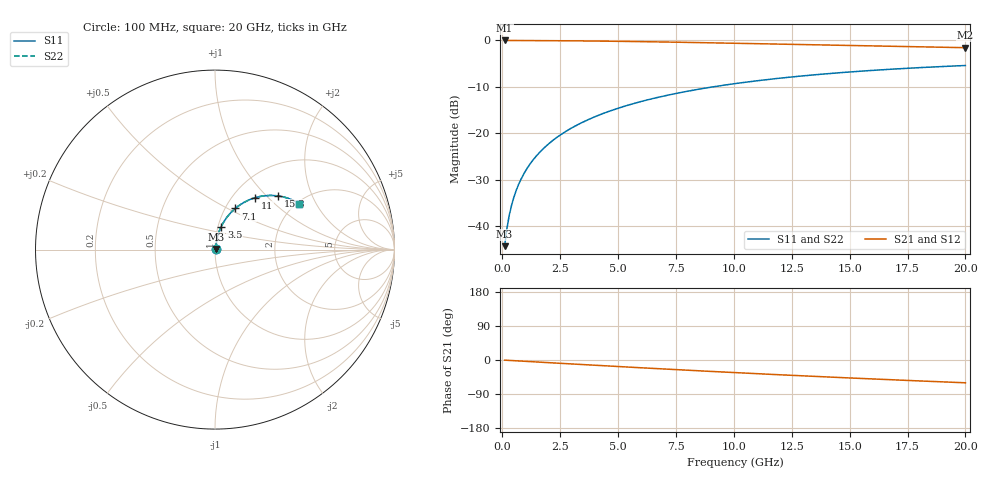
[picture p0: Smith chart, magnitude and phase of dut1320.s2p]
! Touchstone file exported from HFSS 2026.1.0
!  File:  C:/ffzhzh/LocalFiles/Ansys_Project_Files/temp_train_BSMRDL_1320_1783178507_55132.aedt
!  Generated:  11:23:17 PM Jul  4, 2026
!  Design:  BSMRDL
!  Project:  temp_train_BSMRDL_1320_1783178507_55132
! Variables:
!  h_bsmrdl = 3.36um
!  h_ox = 20um
!  h_rdl = 5um
!  h_sub = 80um
!  h_tmrdl = 5um
!  h_tsv = 80um
!  h_via = 3um
!  l_bsmrdl = 915.63um
!  l_sub = 1315.63um
!  l_tmrdl = 200um
!  m_sub = 200um
!  pitch = 56.64um
!  r_tsv = 6um
!  s_tmrdl = 10um
!  w_bsmrdl = 22.48um
!  w_sub = 500um
!  w_tmrdl = 12um
!  x_tsv_center1 = 206um
!  x_tsv_center2 = 1144.11um
!  x_tsv_center3 = 1356.11um
!  x_tsv_center4 = 2294.22um
!  x_tsv_center5 = 2506.22um
!  x_tsv_center6 = 3444.33um
# GHz S MA R 50.000000
! Terminal data exported
! Port[1] = BSM_RDL1_1_T1
! Port[2] = BSM_RDL1_1_T2
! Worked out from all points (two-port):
!   200 points, 100 MHz to 20 GHz, reference 50 ohm
!   highest |S21| = -0.04 dB at 100 MHz (marker M1); lowest = -1.6 dB at 20 GHz (marker M2)
!   |S21| within 3 dB of the highest: start of sweep to end of sweep
!   lowest |S11| = -44.3 dB at 100 MHz (marker M3), VSWR 1.01, Z = 50.4 + j0.417 ohm
!   |S11| at or under -10 dB: start of sweep to 9.126 GHz
!   |S22| runs from -44.3 to -5.4 dB; largest |S21 - S12| = 3e-15
!   S11 on the Smith chart (normalised r, x): 100 MHz: 1.01, +0.01; 3.5 GHz: 1.04, +0.27; 7.1 GHz: 1.11, +0.55; 11 GHz: 1.27, +0.85; 15.3 GHz: 1.55, +1.17; 20 GHz: 2.06, +1.48
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0.1  0.006101 42.6  0.9955 -0.4  0.9955 -0.4  0.006101 42.6
! Gamma 0 0 0 0
! Port Impedance 50 0 50 0
0.2  0.009444 59.7  0.9953 -0.7  0.9953 -0.7  0.009444 59.7
0.3  0.01309 67.1  0.9951 -1.1  0.9951 -1.1  0.01309 67.1
0.4  0.01679 71.0  0.9948 -1.4  0.9948 -1.4  0.01679 71.0
0.5  0.0205 73.5  0.9946 -1.8  0.9946 -1.8  0.0205 73.5
0.6  0.02422 75.2  0.9944 -2.1  0.9944 -2.1  0.02422 75.2
0.8  0.03169 77.2  0.994 -2.8  0.994 -2.8  0.03169 77.2
1.1  0.04296 78.6  0.9935 -3.9  0.9935 -3.9  0.04296 78.6
1.5  0.05805 79.0  0.9925 -5.3  0.9925 -5.3  0.05805 79.0
2.1  0.08063 78.3  0.9907 -7.4  0.9907 -7.4  0.08063 78.3
2.7  0.103 77.0  0.9883 -9.4  0.9883 -9.4  0.103 77.0
3.5  0.1324 74.9  0.9844 -12.2  0.9844 -12.2  0.1324 74.9
5  0.1857 70.3  0.9748 -17.2  0.9748 -17.2  0.1857 70.3
6.8  0.2458 64.7  0.9602 -23.2  0.9602 -23.2  0.2458 64.7
7.1  0.2554 63.8  0.9576 -24.1  0.9576 -24.1  0.2553 63.8
8.5  0.2981 59.5  0.9444 -28.5  0.9444 -28.5  0.2981 59.5
10.1  0.3432 54.7  0.9283 -33.4  0.9283 -33.4  0.3432 54.8
11  0.3668 52.1  0.919 -36.1  0.919 -36.1  0.3668 52.1
13.4  0.4233 45.4  0.894 -43.0  0.894 -43.0  0.4233 45.4
15.3  0.4618 40.3  0.8747 -48.2  0.8747 -48.2  0.4618 40.4
16.7  0.4868 36.7  0.8611 -51.9  0.8611 -51.9  0.4868 36.7
20  0.5352 28.6  0.8323 -60.1  0.8323 -60.1  0.5352 28.7
